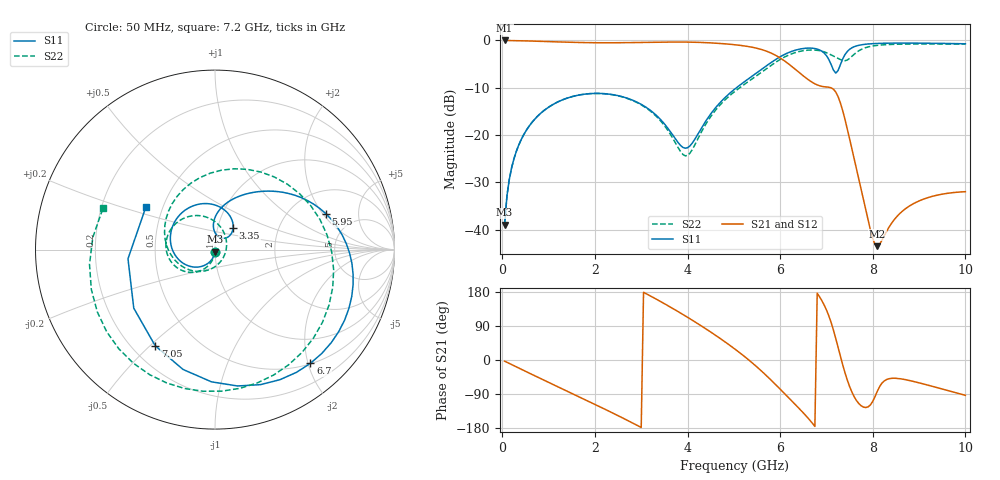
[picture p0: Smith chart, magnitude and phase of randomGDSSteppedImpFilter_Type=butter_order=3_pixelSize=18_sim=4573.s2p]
! freq	dB(S11)	phase(S11)	dB(S12)	phase(S12)
!  dB(S21)	phase(S21)	dB(S22)	phase(S22)
!S-par simulation data
#  GHz  S  DB  R 50
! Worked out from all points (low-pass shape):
!   200 points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, 50 MHz to 10 GHz, reference 50 ohm
!   highest |S21| = -0.01 dB at 50 MHz (marker M1); lowest = -43.4 dB at 8.1 GHz (marker M2)
!   |S21| within 3 dB of the highest: start of sweep to 5.875 GHz
!   lowest |S11| = -38.9 dB at 50 MHz (marker M3), VSWR 1.02, Z = 49.9 - j1.13 ohm
!   |S11| at or under -10 dB: start of sweep to 5.055 GHz
!   |S22| runs from -38.9 to -0.7 dB; largest |S21 - S12| = 0
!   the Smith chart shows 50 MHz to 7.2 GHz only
!   S11 on the Smith chart (normalised r, x): 50 MHz: 1.00, -0.02; 3.35 GHz: 1.19, +0.29; 5.95 GHz: 3.12, +2.15; 6.7 GHz: 0.51, -2.04; 7.05 GHz: 0.29, -0.52; 7.2 GHz: 0.40, +0.24
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0.05  -38.89 -93.0  -0.01 -3.0  -0.01 -3.0  -38.85 -92.0
0.2  -26.96 -103.7  -0.03 -12.0  -0.03 -12.0  -26.94 -100.1
0.5  -19.29 -124.8  -0.09 -29.8  -0.09 -29.8  -19.27 -115.7
1.75  -11.38 150.9  -0.45 -102.6  -0.45 -102.6  -11.38 -177.3
2.65  -12.05 91.0  -0.47 -156.1  -0.47 -156.1  -12.10 136.2
3.35  -16.04 50.2  -0.37 158.9  -0.37 158.9  -16.27 88.9
3.4  -16.53 48.1  -0.36 155.5  -0.36 155.5  -16.79 84.4
3.95  -22.76 65.8  -0.35 116.5  -0.35 116.5  -24.37 -13.2
4.3  -18.51 93.8  -0.43 89.8  -0.43 89.8  -19.32 -100.4
5.05  -10.04 67.6  -0.94 26.4  -0.94 26.4  -10.55 161.3
5.6  -6.09 40.0  -1.92 -29.4  -1.92 -29.4  -6.70 76.8
5.95  -3.74 17.8  -3.41 -70.7  -3.41 -70.7  -4.32 16.0
6.25  -2.30 -5.8  -5.48 -107.9  -5.48 -107.9  -2.82 -34.0
6.7  -1.65 -50.0  -8.89 -167.4  -8.89 -167.4  -2.02 -102.2
7.05  -4.00 -121.9  -9.88 116.8  -9.88 116.8  -2.81 -162.2
7.2  -6.90 148.5  -10.88 57.0  -10.88 57.0  -3.54 159.8
7.4  -2.99 34.4  -16.68 -33.6  -16.68 -33.6  -4.29 74.0
7.55  -1.55 -0.5  -22.94 -84.9  -22.94 -84.9  -3.36 3.1
7.8  -0.85 -30.5  -33.68 -124.3  -33.68 -124.3  -1.68 -66.4
8.1  -0.63 -51.5  -43.45 -81.9  -43.45 -81.9  -1.04 -107.7
8.35  -0.57 -64.4  -39.45 -49.5  -39.45 -49.5  -0.86 -129.6
10  -0.71 -121.7  -31.94 -93.3  -31.94 -93.3  -0.78 144.5
